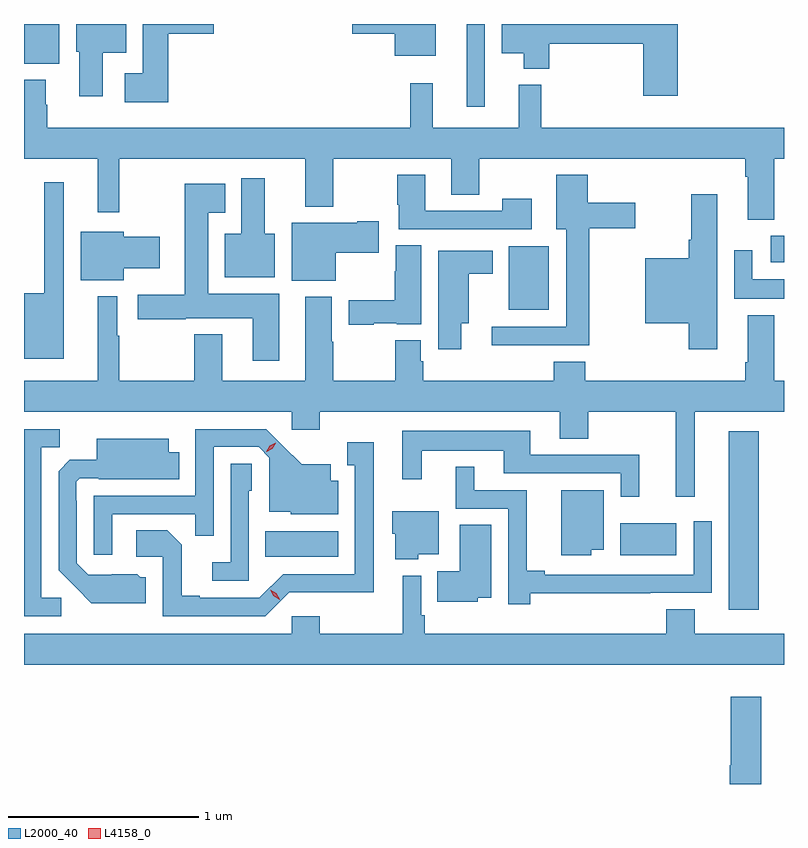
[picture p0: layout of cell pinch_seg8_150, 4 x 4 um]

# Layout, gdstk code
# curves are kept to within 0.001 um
import gdstk
lib = gdstk.Library(unit=1e-6, precision=1e-09)
def R(c, l, rs):  # rectangles x0, y0, x1, y1
    for r in rs: c.add(gdstk.rectangle(r[:2], r[2:], *l))
def P(c, l, *ps):  # polygons
    for p in ps: c.add(gdstk.Polygon(p, *l))
L2000_40 = (2000, 40)
L4158_0 = (4158, 0)

pinch_seg8_150 = lib.new_cell('pinch_seg8_150')
R(pinch_seg8_150, L2000_40, [(703.688,1142.097,703.847,1143.037), (701.248,1142.378,701.632,1142.512), (703.118,1142.384,703.411,1142.554), (702.53,1143.677,702.742,1144.012), (703.908,1143.926,703.979,1144.066), (702.308,1144.746,702.405,1145.181), (699.979,1144.973,700.165,1145.181)])
P(pinch_seg8_150, L2000_40, [(702.145,1145.181),(701.706,1145.181),(701.706,1145.129),(701.93,1145.129),(701.93,1145.015),(702.145,1145.015)],
  [(700.393,1145.03),(700.516,1145.03),(700.516,1145.181),(700.253,1145.181),(700.253,1145.034),(700.271,1145.034),(700.271,1144.8),(700.393,1144.8)],
  [(700.739,1145.129),(700.978,1145.129),(700.978,1145.181),(700.604,1145.181),(700.604,1144.921),(700.509,1144.921),(700.509,1144.769),(700.739,1144.769)],
  [(703.421,1145.181),(702.494,1145.181),(702.494,1145.027),(702.608,1145.027),(702.608,1144.946),(702.743,1144.946),(702.743,1145.076),(703.238,1145.076),(703.238,1144.803),(703.421,1144.803)],
  [(699.979,1144.888),(699.979,1144.472),(700.367,1144.472),(700.367,1144.191),(700.481,1144.191),(700.481,1144.472),(701.459,1144.472),(701.459,1144.22),(701.607,1144.22),(701.607,1144.472),(702.227,1144.472),(702.227,1144.282),(702.375,1144.282),(702.375,1144.472),(703.775,1144.472),(703.775,1144.376),(703.787,1144.376),(703.787,1144.152),(703.927,1144.152),(703.927,1144.472),(703.979,1144.472),(703.979,1144.636),(702.701,1144.636),(702.701,1144.861),(702.584,1144.861),(702.584,1144.636),(702.131,1144.636),(702.131,1144.87),(702.013,1144.87),(702.013,1144.636),(700.101,1144.636),(700.101,1144.757),(700.093,1144.757),(700.093,1144.888)],
  [(702.652,1144.261),(702.496,1144.261),(702.496,1144.197),(702.091,1144.197),(702.091,1144.387),(701.944,1144.387),(701.944,1144.231),(701.951,1144.231),(701.951,1144.101),(702.652,1144.101)],
  [(702.954,1144.106),(703.195,1144.106),(703.195,1144.24),(702.946,1144.24),(702.946,1144.387),(702.779,1144.387),(702.779,1144.1),(702.833,1144.1),(702.833,1143.588),(702.441,1143.588),(702.441,1143.491),(702.954,1143.491)],
  [(701.299,1144.078),(701.245,1144.078),(701.245,1144.369),(701.123,1144.369),(701.123,1144.078),(701.036,1144.078),(701.036,1143.848),(701.299,1143.848)],
  [(700.189,1144.348),(700.085,1144.348),(700.085,1143.763),(699.979,1143.763),(699.979,1143.419),(700.189,1143.419)],
  [(701.323,1143.76),(700.948,1143.76),(700.948,1144.187),(701.038,1144.187),(701.038,1144.339),(700.826,1144.339),(700.826,1143.757),(700.578,1143.757),(700.578,1143.628),(700.83,1143.628),(700.83,1143.632),(701.183,1143.632),(701.183,1143.408),(701.323,1143.408)],
  [(703.627,1144.285),(703.49,1144.285),(703.49,1144.045),(703.478,1144.045),(703.478,1143.949),(703.25,1143.949),(703.25,1143.605),(703.478,1143.605),(703.478,1143.468),(703.627,1143.468)],
  [(701.62,1143.977),(701.845,1143.977),(701.845,1144.143),(701.732,1144.143),(701.732,1144.135),(701.387,1144.135),(701.387,1143.83),(701.62,1143.83)],
  [(700.504,1143.896),(700.693,1143.896),(700.693,1144.062),(700.504,1144.062),(700.504,1144.087),(700.277,1144.087),(700.277,1143.833),(700.504,1143.833)],
  [(701.82,1143.605),(701.94,1143.605),(701.94,1143.602),(702.07,1143.602),(702.07,1144.016),(701.936,1144.016),(701.936,1143.881),(701.929,1143.881),(701.929,1143.727),(701.688,1143.727),(701.688,1143.598),(701.82,1143.598)],
  [(703.979,1143.838),(703.812,1143.838),(703.812,1143.991),(703.716,1143.991),(703.716,1143.734),(703.979,1143.734)],
  [(702.28,1143.605),(702.319,1143.605),(702.319,1143.866),(702.445,1143.866),(702.445,1143.988),(702.158,1143.988),(702.158,1143.468),(702.28,1143.468)],
  [(703.508,1143.14),(703.979,1143.14),(703.979,1143.304),(703.927,1143.304),(703.927,1143.649),(703.787,1143.649),(703.787,1143.4),(703.775,1143.4),(703.775,1143.304),(702.932,1143.304),(702.932,1143.403),(702.767,1143.403),(702.767,1143.304),(702.08,1143.304),(702.08,1143.405),(702.067,1143.405),(702.067,1143.517),(701.932,1143.517),(701.932,1143.304),(701.607,1143.304),(701.607,1143.509),(701.599,1143.509),(701.599,1143.745),(701.459,1143.745),(701.459,1143.304),(701.023,1143.304),(701.023,1143.547),(700.876,1143.547),(700.876,1143.304),(700.481,1143.304),(700.481,1143.539),(700.471,1143.539),(700.471,1143.748),(700.367,1143.748),(700.367,1143.304),(699.979,1143.304),(699.979,1143.14),(701.388,1143.14),(701.388,1143.045),(701.535,1143.045),(701.535,1143.14),(702.8,1143.14),(702.8,1142.998),(702.948,1142.998),(702.948,1143.14),(703.409,1143.14),(703.409,1142.694),(703.508,1142.694)],
  [(700.443,1142.601),(700.879,1142.601),(700.879,1142.488),(700.977,1142.488),(700.977,1142.955),(701.214,1142.955),(701.271,1142.898),(701.271,1142.615),(701.382,1142.615),(701.382,1142.6),(701.632,1142.6),(701.632,1142.776),(701.593,1142.776),(701.593,1142.863),(701.441,1142.863),(701.254,1143.048),(700.881,1143.048),(700.881,1142.697),(700.347,1142.697),(700.347,1142.388),(700.443,1142.388)],
  [(700.174,1142.16),(700.071,1142.16),(700.071,1142.953),(700.167,1142.953),(700.167,1143.048),(699.979,1143.048),(699.979,1142.064),(700.174,1142.064)],
  [(703.217,1142.913),(702.643,1142.913),(702.643,1143.04),(701.969,1143.04),(701.969,1142.784),(702.073,1142.784),(702.073,1142.936),(702.503,1142.936),(702.503,1142.817),(703.119,1142.817),(703.119,1142.694),(703.217,1142.694)],
  [(700.621,1142.268),(700.59,1142.268),(700.574,1142.284),(700.317,1142.283),(700.257,1142.343),(700.257,1142.672),(700.254,1142.672),(700.254,1142.772),(700.272,1142.79),(700.372,1142.79),(700.372,1142.786),(700.796,1142.786),(700.796,1142.926),(700.741,1142.926),(700.741,1142.998),(700.361,1142.998),(700.361,1142.887),(700.22,1142.887),(700.161,1142.828),(700.161,1142.306),(700.333,1142.132),(700.621,1142.132)],
  [(701.376,1142.19),(701.821,1142.189),(701.821,1142.98),(701.681,1142.98),(701.681,1142.859),(701.72,1142.859),(701.72,1142.286),(701.343,1142.286),(701.217,1142.16),(700.903,1142.16),(700.903,1142.173),(700.809,1142.173),(700.809,1142.44),(700.733,1142.516),(700.569,1142.516),(700.569,1142.376),(700.71,1142.376),(700.71,1142.064),(701.25,1142.064)],
  [(701.163,1142.724),(701.178,1142.724),(701.178,1142.867),(701.067,1142.867),(701.067,1142.347),(700.971,1142.347),(700.971,1142.25),(701.163,1142.25)],
  [(702.644,1142.186),(703.274,1142.186),(703.274,1142.187),(703.599,1142.187),(703.599,1142.563),(703.503,1142.563),(703.503,1142.283),(702.721,1142.283),(702.721,1142.303),(702.626,1142.303),(702.626,1142.727),(702.349,1142.727),(702.349,1142.851),(702.251,1142.851),(702.251,1142.631),(702.528,1142.631),(702.528,1142.127),(702.644,1142.127)],
  [(702.964,1142.414),(703.03,1142.414),(703.03,1142.728),(702.806,1142.728),(702.806,1142.384),(702.964,1142.384)],
  [(702.054,1142.39),(702.163,1142.39),(702.163,1142.617),(701.918,1142.617),(701.918,1142.499),(701.933,1142.499),(701.933,1142.363),(702.054,1142.363)],
  [(702.366,1142.162),(702.439,1142.162),(702.439,1142.546),(702.272,1142.546),(702.272,1142.302),(702.154,1142.302),(702.154,1142.141),(702.366,1142.141)],
  [(703.979,1141.972),(703.51,1141.972),(703.51,1142.102),(703.358,1142.102),(703.358,1141.972),(702.089,1141.972),(702.089,1142.068),(702.069,1142.068),(702.069,1142.278),(701.972,1142.278),(701.972,1141.972),(701.535,1141.972),(701.535,1142.065),(701.388,1142.065),(701.388,1141.972),(699.979,1141.972),(699.979,1141.808),(703.979,1141.808)],
  [(703.858,1141.639),(703.7,1141.639),(703.7,1141.281),(703.694,1141.281),(703.694,1141.181),(703.858,1141.181)])
P(pinch_seg8_150, L4158_0, [(701.255,1142.93),(701.255,1142.93),(701.273,1142.96),(701.303,1142.976),(701.303,1142.976),(701.303,1142.975),(701.286,1142.946),(701.256,1142.93)],
  [(701.324,1142.152),(701.292,1142.172),(701.275,1142.204),(701.275,1142.204),(701.275,1142.204),(701.307,1142.185),(701.324,1142.153),(701.324,1142.152)])

lib.write_gds('pinch_seg8_150.gds')
